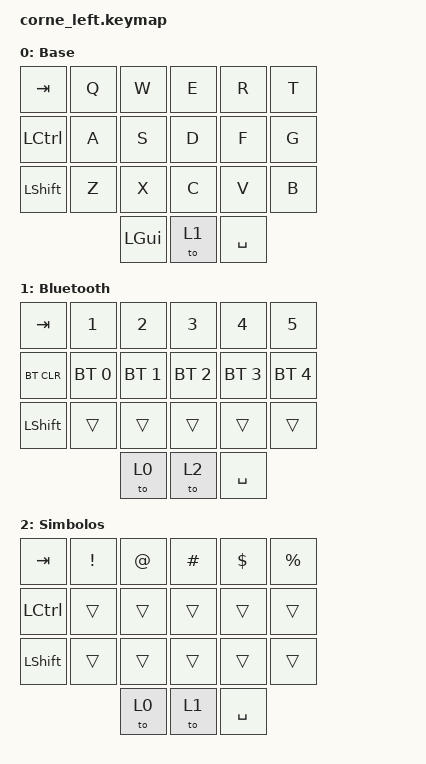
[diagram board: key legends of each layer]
/*
 * Metade ESQUERDA — teclado independente (Corne L).
 * 6 colunas (0–5) + 3 thumb keys — total 21 teclas.
 * Navegação por toggle: clique para entrar/sair das layers.
 */

#include <behaviors.dtsi>
#include <dt-bindings/zmk/keys.h>
#include <dt-bindings/zmk/bt.h>

/ {
    keymap {
        compatible = "zmk,keymap";

        default_layer {
            display-name = "Base";
// | TAB | Q | W | E | R | T |
// | CTRL| A | S | D | F | G |
// | SHFT| Z | X | C | V | B |
//       | GUI | →BT | SPC |
            bindings = <
    &kp TAB   &kp Q &kp W &kp E &kp R &kp T
    &kp LCTRL &kp A &kp S &kp D &kp F &kp G
    &kp LSHFT &kp Z &kp X &kp C &kp V &kp B
                    &kp LGUI &to 1 &kp SPACE
            >;
        };

        bt_layer {
            display-name = "Bluetooth";
// | TAB | 1 | 2 | 3 | 4 | 5 |
// |BTCLR|BT1|BT2|BT3|BT4|BT5|
// | SHFT|   |   |   |   |   |
//       |→BASE|→SYM| SPC |
            bindings = <
    &kp TAB    &kp N1       &kp N2       &kp N3       &kp N4       &kp N5
    &bt BT_CLR &bt BT_SEL 0 &bt BT_SEL 1 &bt BT_SEL 2 &bt BT_SEL 3 &bt BT_SEL 4
    &kp LSHFT  &trans       &trans       &trans       &trans       &trans
                            &to 0        &to 2        &kp SPACE
            >;
        };

        raise_layer {
            display-name = "Simbolos";
// | TAB | !  | @  | #  | $  | %  |
// | CTRL|    |    |    |    |    |
// | SHFT|    |    |    |    |    |
//       |→BASE|→BT | SPC |
            bindings = <
    &kp TAB   &kp EXCL &kp AT &kp HASH &kp DLLR &kp PRCNT
    &kp LCTRL &trans   &trans &trans   &trans   &trans
    &kp LSHFT &trans   &trans &trans   &trans   &trans
                    &to 0    &to 1    &kp SPACE
            >;
        };
    };
};
